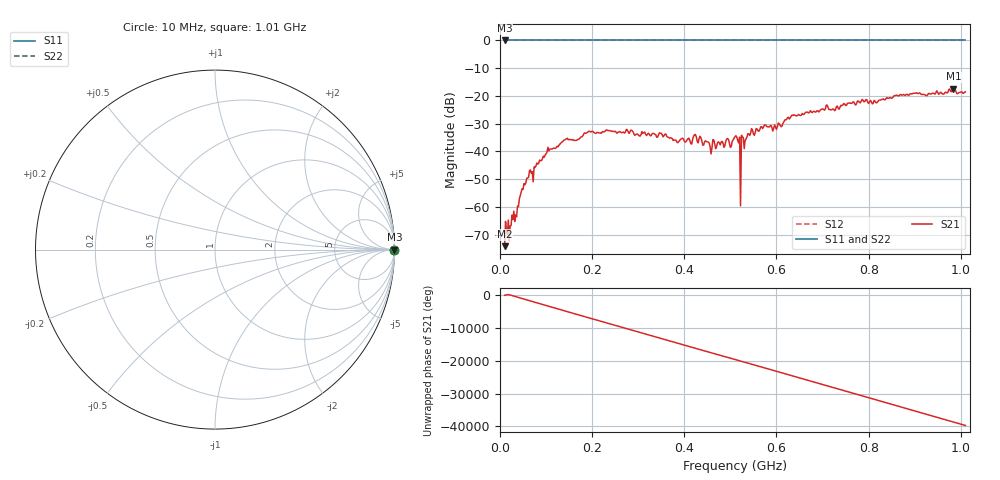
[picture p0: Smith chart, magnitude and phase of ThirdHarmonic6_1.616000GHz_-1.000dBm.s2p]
! 8/16/2025 7:17:44 PM
! C:\ANRITSUVNA\TEMP\TEMP.S2P
! CHANNEL.1
! TR.MEASUREMENT
! RAW.DATA
! RF.CORRECTION.OFF
! AVERAGING.OFF
! IF.BANDWIDTH: 5KHZ
! SWEEPTYPE:  FREQ.SWEEP(Linear)
! Reference Plane Port Info
! PORT:  PORT1  PORT2
! DISTANCE:  0  m  0  m
! TIME:  0  s  0  s
! PHASE.OFFSET:  0  deg.  0  deg.
! LOSS:  0  dB  0  dB
! REF.LOSS:  0  dB  0  dB
! REF.FREQ:  0  Hz  0  Hz
! Power Info
! POWER:  -20  dBm  -20  dBm
! EFF.POWER:  -20  dBm  -20  dBm
! SOURCE.ATTEN:  0  dB  0  dB
! TEST.ATTEN:  0  dB  0  dB
# GHZ S RI R 50.0
! FREQ.GHZ  S11RE  S11IM  S21RE  S21IM  S12RE  S12IM  S22RE  S22IM
!; PortSelection: Port_12
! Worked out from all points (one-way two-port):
!   501 points, 10 MHz to 1.01 GHz, reference 50 ohm
!   highest |S21| = -17.38 dB at 984 MHz (marker M1); lowest = -74.2 dB at 10 MHz (marker M2)
!   lowest |S11| = 0.0 dB at 10 MHz (marker M3)
!   |S11| at or under -10 dB: nowhere
!   |S22| runs from 0.0 to 0.0 dB; largest |S21 - S12| = 1.1
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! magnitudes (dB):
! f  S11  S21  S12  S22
! 10 MHz  0.0  -74.2  0.0  0.0
! 36 MHz  0.0  -63.6  0.0  0.0
! 48 MHz  0.0  -53.5  0.0  0.0
! 62 MHz  0.0  -49.4  0.0  0.0
! 106 MHz  0.0  -39.8  0.0  0.0
! 178 MHz  0.0  -34.7  0.0  0.0
! 234 MHz  0.0  -32.5  0.0  0.0
! 344 MHz  0.0  -34.0  0.0  0.0
! 386 MHz  0.0  -36.9  0.0  0.0
! 422 MHz  0.0  -34.0  0.0  0.0
! 456 MHz  0.0  -38.3  0.0  0.0
! 502 MHz  0.0  -38.2  0.0  0.0
! 510 MHz  0.0  -34.7  0.0  0.0
! 516 MHz  0.0  -36.2  0.0  0.0
! 518 MHz  0.0  -36.9  0.0  0.0
! 526 MHz  0.0  -34.8  0.0  0.0
! 528 MHz  0.0  -35.0  0.0  0.0
! 544 MHz  0.0  -33.4  0.0  0.0
! 678 MHz  0.0  -26.0  0.0  0.0
! 844 MHz  0.0  -20.8  0.0  0.0
! 984 MHz  0.0  -17.4  0.0  0.0
! 1.01 GHz  0.0  -18.5  0.0  0.0
